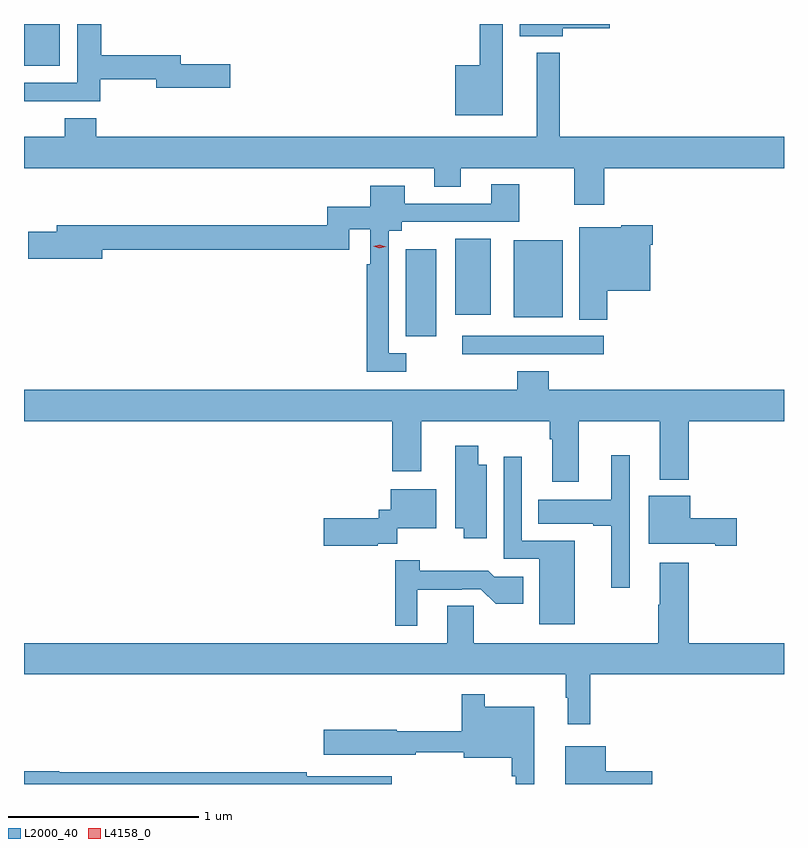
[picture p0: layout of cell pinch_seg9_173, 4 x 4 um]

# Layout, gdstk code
import gdstk
lib = gdstk.Library(unit=1e-6, precision=1e-09)
def R(c, l, rs):  # rectangles x0, y0, x1, y1
    for r in rs: c.add(gdstk.rectangle(r[:2], r[2:], *l))
def P(c, l, *ps):  # polygons
    for p in ps: c.add(gdstk.Polygon(p, *l))
L2000_40 = (2000, 40)
L4158_0 = (4158, 0)

pinch_seg9_173 = lib.new_cell('pinch_seg9_173')
R(pinch_seg9_173, L2000_40, [(844.053,1171.464,844.798,1171.56), (843.755,1171.559,843.916,1172.017), (844.325,1171.658,844.582,1172.065), (844.016,1171.673,844.204,1172.071), (841.747,1172.981,841.936,1173.202)])
P(pinch_seg9_173, L2000_40, [(844.267,1173.202),(844.146,1173.202),(844.146,1172.986),(844.016,1172.986),(844.016,1172.723),(844.267,1172.723)],
  [(842.148,1172.91),(842.444,1172.91),(842.444,1172.867),(842.833,1172.867),(842.833,1172.989),(842.572,1172.989),(842.572,1173.038),(842.153,1173.038),(842.153,1173.202),(842.027,1173.202),(842.027,1172.892),(841.747,1172.892),(841.747,1172.795),(842.148,1172.795)],
  [(844.582,1173.179),(844.831,1173.179),(844.831,1173.202),(844.355,1173.202),(844.355,1173.137),(844.582,1173.137)],
  [(844.802,1172.444),(845.747,1172.444),(845.747,1172.608),(844.567,1172.608),(844.567,1173.052),(844.445,1173.052),(844.445,1172.608),(842.126,1172.608),(842.126,1172.707),(841.961,1172.707),(841.961,1172.608),(841.747,1172.608),(841.747,1172.444),(843.905,1172.444),(843.905,1172.345),(844.045,1172.345),(844.045,1172.444),(844.642,1172.444),(844.642,1172.25),(844.802,1172.25)],
  [(843.76,1171.468),(843.666,1171.468),(843.666,1172.114),(843.736,1172.114),(843.736,1172.16),(844.353,1172.16),(844.353,1172.359),(844.205,1172.359),(844.205,1172.256),(843.751,1172.256),(843.751,1172.35),(843.569,1172.35),(843.569,1172.24),(843.343,1172.24),(843.343,1172.143),(841.919,1172.143),(841.919,1172.109),(841.77,1172.109),(841.77,1171.967),(842.158,1171.967),(842.158,1172.014),(843.459,1172.014),(843.459,1172.122),(843.57,1172.122),(843.57,1171.937),(843.55,1171.937),(843.55,1171.371),(843.76,1171.371)],
  [(844.817,1171.799),(845.044,1171.799),(845.044,1172.039),(845.057,1172.039),(845.057,1172.143),(844.89,1172.143),(844.89,1172.131),(844.67,1172.131),(844.67,1171.645),(844.817,1171.645)],
  [(844.666,1171.112),(845.093,1171.112),(845.093,1170.803),(845.246,1170.803),(845.246,1171.112),(845.747,1171.112),(845.747,1171.276),(844.508,1171.276),(844.508,1171.375),(844.343,1171.375),(844.343,1171.276),(841.747,1171.276),(841.747,1171.112),(843.686,1171.112),(843.686,1170.849),(843.838,1170.849),(843.838,1171.112),(844.514,1171.112),(844.514,1171.016),(844.526,1171.016),(844.526,1170.792),(844.666,1170.792)],
  [(844.183,1170.883),(844.138,1170.883),(844.138,1170.982),(844.016,1170.982),(844.016,1170.548),(844.061,1170.548),(844.061,1170.495),(844.183,1170.495)],
  [(844.935,1170.931),(844.838,1170.931),(844.838,1170.697),(844.453,1170.697),(844.453,1170.572),(844.742,1170.572),(844.742,1170.56),(844.838,1170.56),(844.838,1170.234),(844.935,1170.234)],
  [(844.645,1170.483),(844.368,1170.483),(844.368,1170.925),(844.272,1170.925),(844.272,1170.387),(844.46,1170.387),(844.46,1170.044),(844.645,1170.044)],
  [(843.608,1170.467),(843.711,1170.467),(843.711,1170.548),(843.916,1170.548),(843.916,1170.754),(843.677,1170.754),(843.677,1170.645),(843.615,1170.645),(843.615,1170.602),(843.324,1170.602),(843.324,1170.455),(843.608,1170.455)],
  [(845.497,1170.602),(845.254,1170.602),(845.254,1170.718),(845.036,1170.718),(845.036,1170.467),(845.384,1170.467),(845.384,1170.455),(845.497,1170.455)],
  [(843.817,1170.225),(844.052,1170.225),(844.052,1170.228),(844.152,1170.228),(844.231,1170.15),(844.375,1170.15),(844.375,1170.294),(844.221,1170.294),(844.19,1170.325),(843.829,1170.325),(843.829,1170.379),(843.7,1170.379),(843.7,1170.036),(843.817,1170.036)],
  [(845.747,1169.944),(845.246,1169.944),(845.246,1170.367),(845.093,1170.367),(845.093,1170.146),(845.086,1170.146),(845.086,1169.944),(844.113,1169.944),(844.113,1170.14),(843.974,1170.14),(843.974,1169.944),(841.747,1169.944),(841.747,1169.78),(844.599,1169.78),(844.599,1169.657),(844.61,1169.657),(844.61,1169.517),(844.727,1169.517),(844.727,1169.78),(845.747,1169.78)],
  [(844.432,1169.608),(844.171,1169.608),(844.171,1169.674),(844.05,1169.674),(844.05,1169.479),(843.708,1169.479),(843.708,1169.487),(843.324,1169.487),(843.324,1169.357),(843.808,1169.357),(843.808,1169.369),(844.061,1169.369),(844.061,1169.339),(844.315,1169.339),(844.315,1169.243),(844.335,1169.243),(844.335,1169.202),(844.432,1169.202)],
  [(845.053,1169.27),(844.81,1169.27),(844.81,1169.401),(844.595,1169.401),(844.595,1169.202),(845.053,1169.202)],
  [(843.682,1169.244),(843.236,1169.244),(843.236,1169.264),(841.932,1169.264),(841.932,1169.27),(841.747,1169.27),(841.747,1169.202),(843.682,1169.202)])
P(pinch_seg9_173, L4158_0, [(843.618,1172.021),(843.584,1172.032),(843.583,1172.032),(843.584,1172.032),(843.619,1172.041),(843.654,1172.03),(843.654,1172.03),(843.654,1172.03)])

lib.write_gds('pinch_seg9_173.gds')
